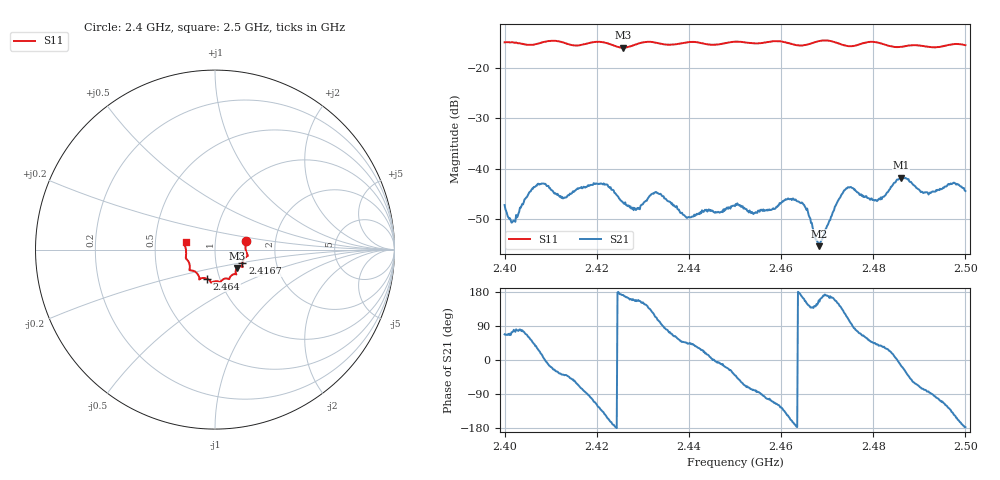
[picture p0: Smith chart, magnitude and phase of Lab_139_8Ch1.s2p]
# Hz S RI R 50
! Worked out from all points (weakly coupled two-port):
!   601 points, 2.4 GHz to 2.5 GHz, reference 50 ohm
!   highest |S21| = -41.80 dB at 2.486 GHz (marker M1); lowest = -55.4 dB at 2.4683 GHz (marker M2)
!   lowest |S11| = -15.9 dB at 2.4257 GHz (marker M3), VSWR 1.38, Z = 62.4 - j13.1 ohm
!   |S11| at or under -10 dB: start of sweep to end of sweep
!   S12 and S22 are empty: the file has one direction only
!   S11 on the Smith chart (normalised r, x): 2.4 GHz: 1.41, +0.14; 2.4167 GHz: 1.34, -0.21; 2.464 GHz: 0.87, -0.29; 2.5 GHz: 0.72, +0.06
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2.4e9  0.1736 0.0494  0.00165 0.00403  0 0  0 0
2.401833e9  0.1751 0.042  0.000765 0.00292  0 0  0 0
2.407167e9  0.1743 -0.0127  0.00615 0.00347  0 0  0 0
2.412833e9  0.1749 -0.0399  0.00398 -0.00326  0 0  0 0
2.416667e9  0.1526 -0.0751  0.00172 -0.00636  0 0  0 0
2.421833e9  0.152 -0.0948  -0.0057 -0.00408  0 0  0 0
2.425667e9  0.1224 -0.1023  -0.0046 0.000677  0 0  0 0
2.428833e9  0.1156 -0.1305  -0.00375 0.0016  0 0  0 0
2.433333e9  0.1126 -0.1365  -0.00144 0.00549  0 0  0 0
2.439833e9  0.08 -0.1628  0.00241 0.00225  0 0  0 0
2.45e9  0.0295 -0.1808  0.00322 -0.00276  0 0  0 0
2.454333e9  0.00735 -0.176  0.000602 -0.00359  0 0  0 0
2.464e9  -0.0463 -0.1615  -0.00462 0.000295  0 0  0 0
2.466667e9  -0.076 -0.1595  -0.00219 0.0019  0 0  0 0
2.468333e9  -0.0859 -0.165  -0.00153 0.000741  0 0  0 0
2.474167e9  -0.0987 -0.134  -0.00276 0.00577  0 0  0 0
2.480333e9  -0.1427 -0.1128  0.00341 0.00342  0 0  0 0
2.483333e9  -0.1405 -0.0896  0.00541 0.00266  0 0  0 0
2.486e9  -0.15 -0.063  0.00788 -0.002  0 0  0 0
2.490833e9  -0.1618 -0.0359  0.00136 -0.00557  0 0  0 0
2.497333e9  -0.1708 0.0281  -0.00558 -0.00456  0 0  0 0
2.5e9  -0.1639 0.0416  -0.006 -0.000269  0 0  0 0
